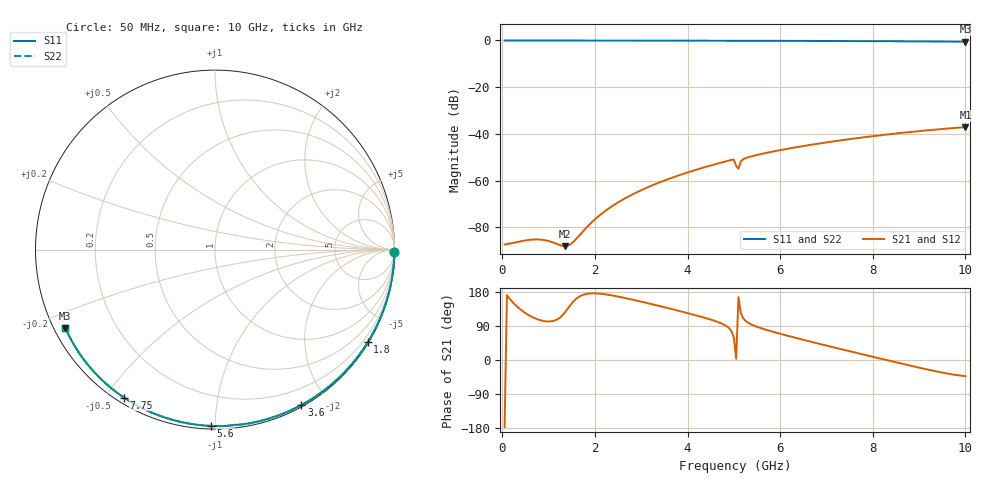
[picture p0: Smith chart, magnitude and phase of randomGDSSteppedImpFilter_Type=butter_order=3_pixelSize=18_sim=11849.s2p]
! freq	dB(S11)	phase(S11)	dB(S12)	phase(S12)
!  dB(S21)	phase(S21)	dB(S22)	phase(S22)
!S-par simulation data
#  GHz  S  DB  R 50
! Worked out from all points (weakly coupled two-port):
!   200 points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, 50 MHz to 10 GHz, reference 50 ohm
!   highest |S21| = -37.12 dB at 10 GHz (marker M1); lowest = -88.1 dB at 1.35 GHz (marker M2)
!   lowest |S11| = -0.5 dB at 10 GHz (marker M3), VSWR 32.91, Z = 1.61 - j12.3 ohm
!   |S11| at or under -10 dB: nowhere
!   |S22| runs from -0.5 to 0.0 dB; largest |S21 - S12| = 0
!   S11 on the Smith chart (normalised r, x): 50 MHz: open; 1.8 GHz: 0.03, -3.57; 3.6 GHz: 0.02, -1.70; 5.6 GHz: 0.02, -0.98; 7.75 GHz: 0.02, -0.56; 10 GHz: 0.03, -0.25
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0.05  -0.00 -0.9  -87.38 -177.2  -87.38 -177.2  -0.00 -0.9
0.7  -0.01 -12.3  -85.22 110.3  -85.22 110.3  -0.01 -12.3
1.35  -0.03 -23.6  -88.11 125.3  -88.11 125.3  -0.03 -23.6
1.75  -0.04 -30.4  -81.59 172.2  -81.59 172.2  -0.04 -30.4
1.8  -0.04 -31.3  -80.51 173.9  -80.51 173.9  -0.04 -31.3
2.2  -0.05 -38.0  -73.36 173.8  -73.36 173.8  -0.05 -38.0
2.5  -0.06 -43.0  -69.35 167.4  -69.35 167.4  -0.06 -43.0
2.9  -0.06 -49.6  -65.06 156.8  -65.06 156.8  -0.06 -49.6
3.4  -0.08 -57.7  -60.75 142.3  -60.75 142.3  -0.08 -57.7
3.6  -0.08 -60.9  -59.25 136.3  -59.25 136.3  -0.08 -60.9
4.2  -0.10 -70.3  -55.30 117.3  -55.30 117.3  -0.10 -70.3
4.95  -0.13 -81.8  -51.12 75.8  -51.12 75.8  -0.13 -81.8
5  -0.13 -82.6  -51.07 59.6  -51.07 59.6  -0.13 -82.6
5.05  -0.16 -83.4  -53.71 3.1  -53.71 3.1  -0.16 -83.4
5.1  -0.15 -83.9  -54.96 165.8  -54.96 165.8  -0.15 -83.9
5.15  -0.14 -84.7  -51.78 124.3  -51.78 124.3  -0.14 -84.7
5.2  -0.14 -85.4  -50.90 110.7  -50.90 110.7  -0.14 -85.4
5.6  -0.15 -91.3  -48.59 83.4  -48.59 83.4  -0.15 -91.4
6.7  -0.21 -107.1  -44.57 47.1  -44.57 47.1  -0.21 -107.1
7.75  -0.28 -121.6  -41.61 15.8  -41.61 15.8  -0.28 -121.6
8.35  -0.33 -129.8  -40.18 -1.7  -40.18 -1.7  -0.33 -129.8
10  -0.53 -152.4  -37.12 -42.5  -37.12 -42.5  -0.53 -152.4
